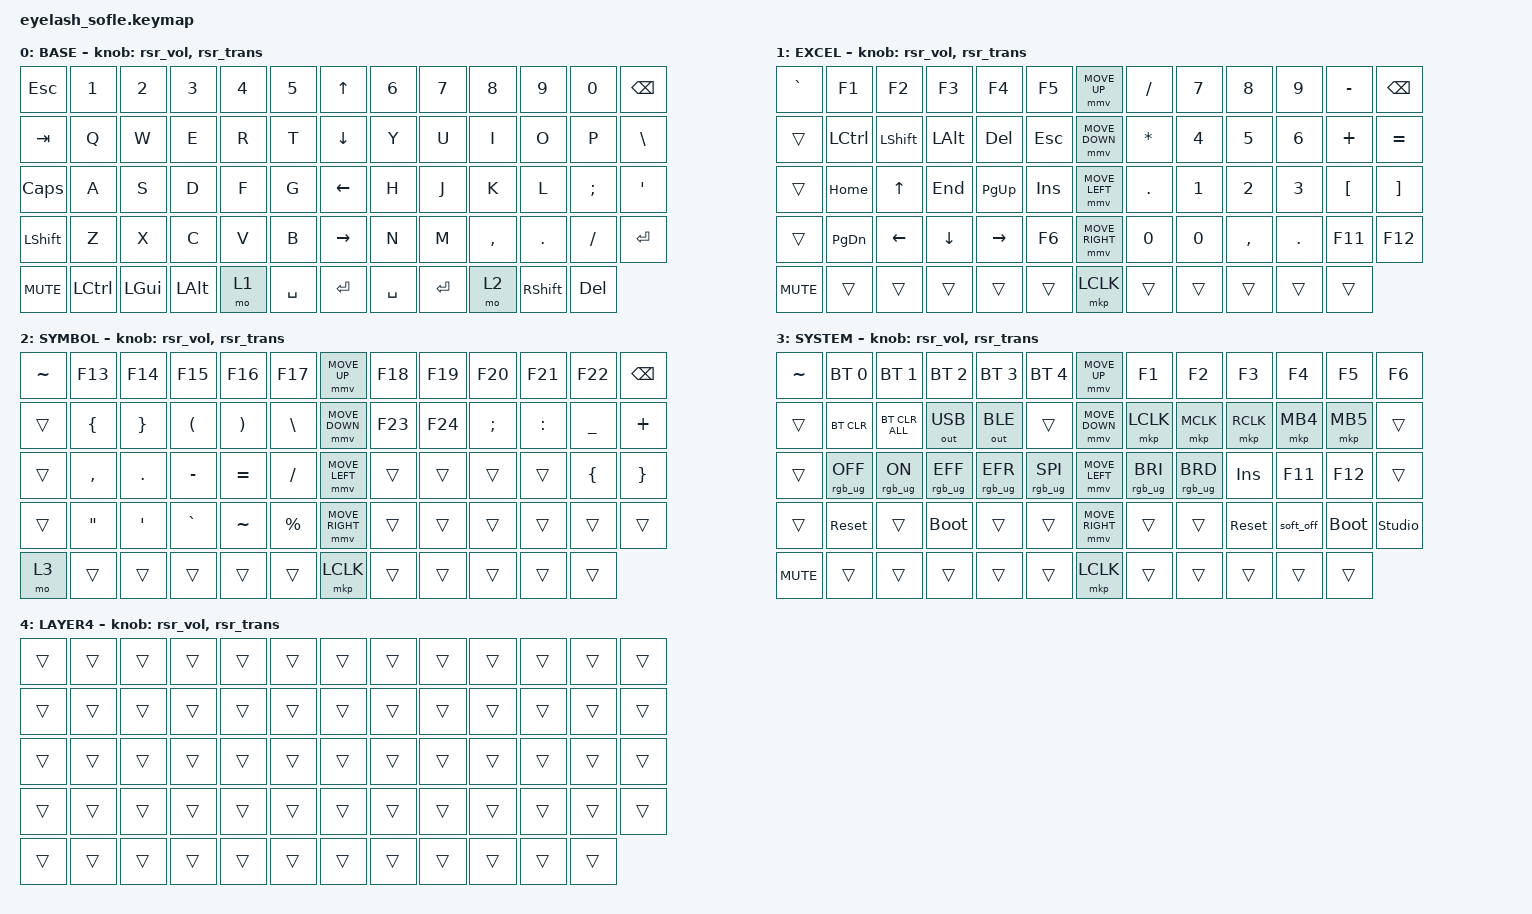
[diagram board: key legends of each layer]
#define ZMK_POINTING_DEFAULT_MOVE_VAL 1200  // 600
#define ZMK_POINTING_DEFAULT_SCRL_VAL 25   // 10

#include <input/processors.dtsi>
#include <zephyr/dt-bindings/input/input-event-codes.h>
#include <behaviors.dtsi>
#include <behaviors/runtime-sensor-rotate.dtsi>
#include <dt-bindings/zmk/bt.h>
#include <dt-bindings/zmk/keys.h>
#include <dt-bindings/zmk/outputs.h>
#include <dt-bindings/zmk/pointing.h>
#include <dt-bindings/zmk/rgb.h>

&mmv_input_listener { input-processors = <&zip_xy_scaler 2 1>; };

&msc_input_listener { input-processors = <&zip_scroll_scaler 2 1>; };

&msc {
    acceleration-exponent = <1>;      // 0
    time-to-max-speed-ms = <100>;       // 300
    delay-ms = <0>;                   // 0
};

&mmv {
    time-to-max-speed-ms = <500>;
    acceleration-exponent = <1>;
    trigger-period-ms = <16>;
};

&soft_off { hold-time-ms = <2000>; };

/ {
    scroll_encoder: scroll_encoder {
        compatible = "zmk,behavior-sensor-rotate";
        #sensor-binding-cells = <0>;
        bindings = <&msc SCRL_DOWN>, <&msc SCRL_UP>;

        tap-ms = <100>;
    };

    behaviors {
        rsr_vol: rsr_vol {
            compatible = "zmk,behavior-runtime-sensor-rotate";
            #sensor-binding-cells = <0>;
            tap-ms = <5>;
            cw-binding = <&kp C_VOL_UP>;
            ccw-binding = <&kp C_VOL_DN>;
        };

        rsr_trans: rsr_trans {
            compatible = "zmk,behavior-runtime-sensor-rotate";
            #sensor-binding-cells = <0>;
            tap-ms = <0>;
        };
    };

    combos {
        compatible = "zmk,combos";

        studio_unlock_combo {
            bindings = <&studio_unlock>;
            key-positions = <15 29 41>;
        };

        softoff {
            bindings = <&soft_off>;
            key-positions = <14 28 40>;
        };
    };

    macros {
        SHIFT_MCLK: SHIFT_MCLK {
            compatible = "zmk,behavior-macro";
            #binding-cells = <0>;
            bindings =
                <&macro_press>,
                <&kp LEFT_SHIFT>,
                <&macro_press>,
                <&mkp MB3>,
                <&macro_pause_for_release>,
                <&macro_release>,
                <&kp LEFT_SHIFT &mkp MB3>;

            label = "SHIFT_MCLK";
        };
    };

    keymap {
        compatible = "zmk,keymap";

        layer0 {
            bindings = <
&kp ESC     &kp N1     &kp N2        &kp N3        &kp N4  &kp N5       &kp UP_ARROW     &kp N6     &kp N7     &kp N8     &kp N9           &kp N0      &kp BACKSPACE
&kp TAB     &kp Q      &kp W         &kp E         &kp R   &kp T        &kp DOWN_ARROW   &kp Y      &kp U      &kp I      &kp O            &kp P       &kp BSLH
&kp CAPS    &kp A      &kp S         &kp D         &kp F   &kp G        &kp LEFT_ARROW   &kp H      &kp J      &kp K      &kp L            &kp SEMI    &kp APOS
&kp LSHFT   &kp Z      &kp X         &kp C         &kp V   &kp B        &kp RIGHT_ARROW  &kp N      &kp M      &kp COMMA  &kp DOT          &kp FSLH    &kp ENTER
&kp C_MUTE  &kp LCTRL  &kp LEFT_GUI  &kp LEFT_ALT  &mo 1   &kp SPACE    &kp ENTER        &kp SPACE  &kp ENTER  &mo 2      &kp RIGHT_SHIFT  &kp DELETE
            >;

            sensor-bindings = <&rsr_vol &rsr_trans>;
            display-name = "BASE";
        };

        layer_1 {
            bindings = <
&kp GRAVE  &kp F1     &kp F2     &kp F3     &kp F4     &kp F5     &mmv MOVE_UP     &kp FSLH   &kp N7  &kp N8     &kp N9     &kp MINUS          &kp BACKSPACE
&trans     &kp LCTRL  &kp LSHFT  &kp LALT   &kp DELETE &kp ESC    &mmv MOVE_DOWN   &kp STAR   &kp N4  &kp N5     &kp N6     &kp PLUS           &kp EQUAL
&trans     &kp HOME   &kp UP     &kp END    &kp PG_UP  &kp INS    &mmv MOVE_LEFT   &kp DOT    &kp N1  &kp N2     &kp N3     &kp LEFT_BRACKET   &kp RIGHT_BRACKET
&trans     &kp PG_DN  &kp LEFT   &kp DOWN   &kp RIGHT  &kp F6     &mmv MOVE_RIGHT  &kp N0     &kp N0  &kp COMMA  &kp DOT    &kp F11            &kp F12
&kp C_MUTE &trans     &trans     &trans     &trans     &trans     &mkp LCLK        &trans     &trans  &trans     &trans     &trans
            >;

            sensor-bindings = <&rsr_vol &rsr_trans>;
            display-name = "EXCEL";
        };

        layer_2 {
            bindings = <
&kp TILDE  &kp F13    &kp F14   &kp F15   &kp F16   &kp F17     &mmv MOVE_UP     &kp F18  &kp F19  &kp F20    &kp F21    &kp F22    &kp BACKSPACE
&trans     &kp LBRC   &kp RBRC  &kp LPAR  &kp RPAR  &kp BSLH    &mmv MOVE_DOWN   &kp F23  &kp F24  &kp SEMI   &kp COLON  &kp UNDER  &kp PLUS
&trans     &kp COMMA  &kp DOT   &kp MINUS &kp EQUAL &kp FSLH    &mmv MOVE_LEFT   &trans   &trans   &trans     &trans     &kp LBRC   &kp RBRC
&trans     &kp DQT    &kp SQT   &kp GRAVE &kp TILDE &kp PRCNT   &mmv MOVE_RIGHT  &trans   &trans   &trans     &trans     &trans     &trans
&mo 3      &trans     &trans    &trans    &trans    &trans      &mkp LCLK        &trans   &trans   &trans     &trans     &trans
            >;

            display-name = "SYMBOL";
            sensor-bindings = <&rsr_vol &rsr_trans>;
        };

        layer_3 {
            bindings = <
&kp TILDE  &bt BT_SEL 0  &bt BT_SEL 1    &bt BT_SEL 2  &bt BT_SEL 3  &bt BT_SEL 4    &mmv MOVE_UP     &kp F1     &kp F2    &kp F3      &kp F4      &kp F5      &kp F6
&trans     &bt BT_CLR    &bt BT_CLR_ALL  &out OUT_USB  &out OUT_BLE  &trans          &mmv MOVE_DOWN   &mkp LCLK  &mkp MCLK &mkp RCLK   &mkp MB4    &mkp MB5    &trans
&trans     &rgb_ug RGB_OFF &rgb_ug RGB_ON &rgb_ug RGB_EFF &rgb_ug RGB_EFR &rgb_ug RGB_SPI &mmv MOVE_LEFT &rgb_ug RGB_BRI &rgb_ug RGB_BRD &kp INSERT &kp F11 &kp F12 &trans
&trans     &sys_reset    &trans          &bootloader   &trans        &trans          &mmv MOVE_RIGHT  &trans     &trans    &sys_reset  &soft_off   &bootloader &studio_unlock
&kp C_MUTE &trans        &trans          &trans        &trans        &trans          &mkp LCLK        &trans     &trans    &trans      &trans      &trans
            >;

            display-name = "SYSTEM";
            sensor-bindings = <&rsr_vol &rsr_trans>;
        };

        layer_4 {
            bindings = <
&trans  &trans  &trans  &trans  &trans  &trans    &trans  &trans  &trans  &trans  &trans  &trans  &trans
&trans  &trans  &trans  &trans  &trans  &trans    &trans  &trans  &trans  &trans  &trans  &trans  &trans
&trans  &trans  &trans  &trans  &trans  &trans    &trans  &trans  &trans  &trans  &trans  &trans  &trans
&trans  &trans  &trans  &trans  &trans  &trans    &trans  &trans  &trans  &trans  &trans  &trans  &trans
&trans  &trans  &trans  &trans  &trans  &trans    &trans  &trans  &trans  &trans  &trans  &trans
            >;

            display-name = "LAYER4";
            sensor-bindings = <&rsr_vol &rsr_trans>;
        };
    };
};
